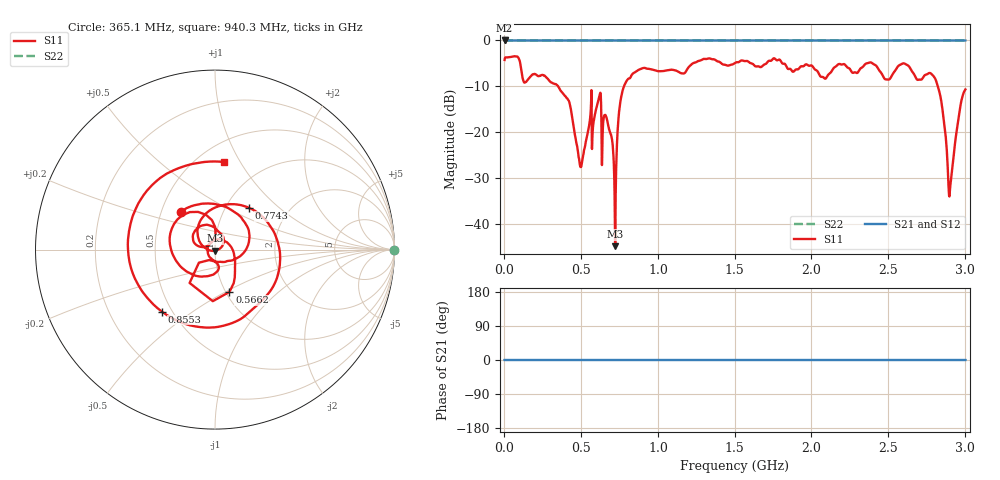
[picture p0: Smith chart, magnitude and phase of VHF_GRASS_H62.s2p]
!Keysight Technologies N9923A: A.08.09
!Date: Thursday, 02 August 2018 08:10:37
!Timezone: (GMT+08:00) Kuala Lumpur, Singapore
!Model: N9923A
!Serial: MY52412143
!GPS Latitude:
!GPS Longitude:
!GPS TimeStamp: 0001-01-01 00:00:00Z
!GPS Seconds Since Last Read: 0
!CHECKSUM:1636331575
!Correction: S11(ON U)S21()S12()S22()
!S2P File: Measurements:S11,S21,S12,S22:
# Hz S DB R 50
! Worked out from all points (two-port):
!   3000 points, 2 MHz to 3.002 GHz, reference 50 ohm
!   highest |S21| = 0.00 dB at 2 MHz (marker M1); lowest = 0.0 dB at 2 MHz (marker M2)
!   |S21| within 3 dB of the highest: start of sweep to end of sweep
!   lowest |S11| = -44.8 dB at 722.2 MHz (marker M3), VSWR 1.01, Z = 49.9 - j0.563 ohm
!   |S11| at or under -10 dB: 350.4 MHz to 778.9 MHz (428.5 MHz wide, 75.9 % of centre); 2.822 GHz to end of sweep
!   |S22| runs from 0.0 to 0.0 dB; largest |S21 - S12| = 0
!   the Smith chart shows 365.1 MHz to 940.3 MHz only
!   S11 on the Smith chart (normalised r, x): 365.1 MHz: 0.63, +0.29; 566.2 MHz: 1.04, -0.52; 774.3 MHz: 1.28, +0.65; 855.3 MHz: 0.44, -0.38; 940.3 MHz: 0.67, +0.86
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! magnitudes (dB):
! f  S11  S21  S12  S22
! 2 MHz  -4.3  0.0  0.0  0.0
! 365.1 MHz  -10.9  0.0  0.0  0.0
! 423.1 MHz  -13.5  0.0  0.0  0.0
! 502.2 MHz  -27.3  0.0  0.0  0.0
! 566.2 MHz  -12.1  0.0  0.0  0.0
! 616.2 MHz  -12.6  0.0  0.0  0.0
! 690.2 MHz  -20.2  0.0  0.0  0.0
! 722.2 MHz  -44.8  0.0  0.0  0.0
! 749.2 MHz  -14.9  0.0  0.0  0.0
! 774.3 MHz  -10.5  0.0  0.0  0.0
! 855.3 MHz  -6.8  0.0  0.0  0.0
! 940.3 MHz  -6.2  0.0  0.0  0.0
! 1.002 GHz  -6.7  0.0  0.0  0.0
! 1.503 GHz  -4.9  0.0  0.0  0.0
! 2.003 GHz  -5.5  0.0  0.0  0.0
! 2.503 GHz  -8.5  0.0  0.0  0.0
! 2.598 GHz  -5.0  0.0  0.0  0.0
! 2.799 GHz  -8.0  0.0  0.0  0.0
! 2.849 GHz  -14.1  0.0  0.0  0.0
! 2.902 GHz  -32.5  0.0  0.0  0.0
! 2.966 GHz  -15.1  0.0  0.0  0.0
! 3.002 GHz  -10.7  0.0  0.0  0.0
